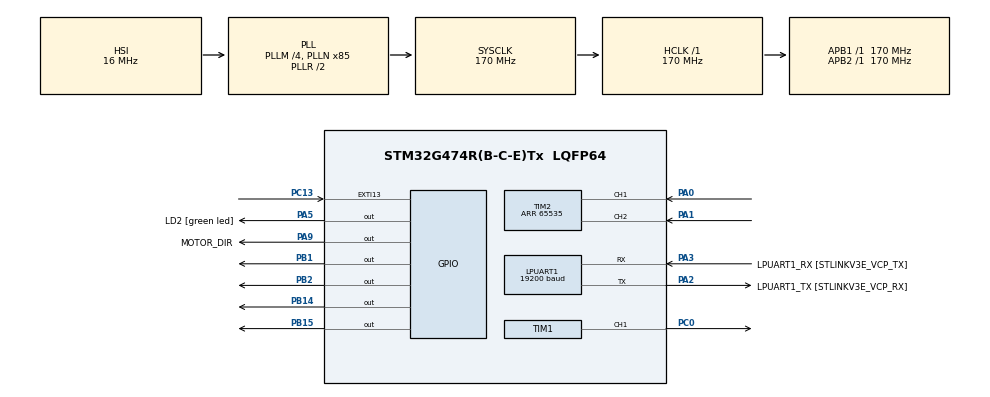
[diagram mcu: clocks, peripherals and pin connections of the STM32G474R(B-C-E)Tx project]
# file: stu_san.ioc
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Dma.LPUART1_RX.0.Direction=DMA_PERIPH_TO_MEMORY
Dma.LPUART1_RX.0.EventEnable=DISABLE
Dma.LPUART1_RX.0.Instance=DMA1_Channel1
Dma.LPUART1_RX.0.MemDataAlignment=DMA_MDATAALIGN_BYTE
Dma.LPUART1_RX.0.MemInc=DMA_MINC_ENABLE
Dma.LPUART1_RX.0.Mode=DMA_NORMAL
Dma.LPUART1_RX.0.PeriphDataAlignment=DMA_PDATAALIGN_BYTE
Dma.LPUART1_RX.0.PeriphInc=DMA_PINC_DISABLE
Dma.LPUART1_RX.0.Polarity=HAL_DMAMUX_REQ_GEN_RISING
Dma.LPUART1_RX.0.Priority=DMA_PRIORITY_LOW
Dma.LPUART1_RX.0.RequestNumber=1
Dma.LPUART1_RX.0.SignalID=NONE
Dma.LPUART1_RX.0.SyncEnable=DISABLE
Dma.LPUART1_RX.0.SyncPolarity=HAL_DMAMUX_SYNC_NO_EVENT
Dma.LPUART1_RX.0.SyncRequestNumber=1
Dma.LPUART1_RX.0.SyncSignalID=NONE
Dma.LPUART1_TX.1.Direction=DMA_MEMORY_TO_PERIPH
Dma.LPUART1_TX.1.EventEnable=DISABLE
Dma.LPUART1_TX.1.Instance=DMA1_Channel2
Dma.LPUART1_TX.1.MemDataAlignment=DMA_MDATAALIGN_BYTE
Dma.LPUART1_TX.1.MemInc=DMA_MINC_ENABLE
Dma.LPUART1_TX.1.Mode=DMA_NORMAL
Dma.LPUART1_TX.1.PeriphDataAlignment=DMA_PDATAALIGN_BYTE
Dma.LPUART1_TX.1.PeriphInc=DMA_PINC_DISABLE
Dma.LPUART1_TX.1.Polarity=HAL_DMAMUX_REQ_GEN_RISING
Dma.LPUART1_TX.1.Priority=DMA_PRIORITY_LOW
Dma.LPUART1_TX.1.RequestNumber=1
Dma.LPUART1_TX.1.SignalID=NONE
Dma.LPUART1_TX.1.SyncEnable=DISABLE
Dma.LPUART1_TX.1.SyncPolarity=HAL_DMAMUX_SYNC_NO_EVENT
Dma.LPUART1_TX.1.SyncRequestNumber=1
Dma.LPUART1_TX.1.SyncSignalID=NONE
Dma.Request0=LPUART1_RX
Dma.Request1=LPUART1_TX
LPUART1.BaudRate=19200
LPUART1.ClockPrescaler=UART_PRESCALER_DIV8
LPUART1.Parity=UART_PARITY_EVEN
LPUART1.WordLength=UART_WORDLENGTH_9B
Mcu.Family=STM32G4
Mcu.Name=STM32G474R(B-C-E)Tx
Mcu.Package=LQFP64
NVIC.DMA1_Channel1_IRQn=true\:0\:0\:false\:false\:true\:false\:true\:true
NVIC.DMA1_Channel2_IRQn=true\:0\:0\:false\:false\:true\:false\:true\:true
NVIC.EXTI15_10_IRQn=true\:0\:0\:false\:false\:true\:true\:true\:true
NVIC.LPUART1_IRQn=true\:0\:0\:false\:false\:true\:true\:true\:true
NVIC.PriorityGroup=NVIC_PRIORITYGROUP_4
NVIC.TIM1_UP_TIM16_IRQn=true\:0\:0\:false\:false\:true\:true\:true\:true
NVIC.TIM6_DAC_IRQn=true\:0\:0\:false\:false\:true\:true\:true\:true
NVIC.TIM7_DAC_IRQn=true\:0\:0\:false\:false\:true\:true\:true\:true
PA0.Signal=S_TIM2_CH1
PA1.Signal=S_TIM2_CH2
PA13.GPIO_Label=T_SWDIO
PA13.Mode=Trace_Asynchronous_SW
PA13.Signal=SYS_JTMS-SWDIO
PA14.GPIO_Label=T_SWCLK
PA14.Mode=Trace_Asynchronous_SW
PA14.Signal=SYS_JTCK-SWCLK
PA2.GPIO_Label=LPUART1_TX [STLINKV3E_VCP_RX]
PA2.Mode=Asynchronous
PA2.Signal=LPUART1_TX
PA3.GPIO_Label=LPUART1_RX [STLINKV3E_VCP_TX]
PA3.Mode=Asynchronous
PA3.Signal=LPUART1_RX
PA5.GPIO_Label=LD2 [green led]
PA5.Signal=GPIO_Output
PA9.GPIO_Label=MOTOR_DIR
PA9.Signal=GPIO_Output
PB1.Signal=GPIO_Output
PB14.Signal=GPIO_Output
PB15.Signal=GPIO_Output
PB2.Signal=GPIO_Output
PB3.GPIO_Label=T_SWO
PB3.Mode=Trace_Asynchronous_SW
PB3.Signal=SYS_JTDO-SWO
PC0.Signal=S_TIM1_CH1
PC13.Signal=GPXTI13
PC14-OSC32_IN.GPIO_Label=RCC_OSC32_IN
PC14-OSC32_IN.Signal=RCC_OSC32_IN
PC15-OSC32_OUT.GPIO_Label=RCC_OSC32_OUT
PC15-OSC32_OUT.Signal=RCC_OSC32_OUT
PF0-OSC_IN.GPIO_Label=RCC_OSC_IN
PF0-OSC_IN.Signal=RCC_OSC_IN
PF1-OSC_OUT.GPIO_Label=RCC_OSC_OUT
PF1-OSC_OUT.Signal=RCC_OSC_OUT
ProjectManager.HeapSize=0x200
ProjectManager.StackSize=0x400
ProjectManager.TargetToolchain=STM32CubeIDE
RCC.ADC12Freq_Value=170000000
RCC.ADC345Freq_Value=170000000
RCC.AHBFreq_Value=170000000
RCC.APB1Freq_Value=170000000
RCC.APB1TimFreq_Value=170000000
RCC.APB2Freq_Value=170000000
RCC.APB2TimFreq_Value=170000000
RCC.CortexFreq_Value=170000000
RCC.EXTERNAL_CLOCK_VALUE=12288000
RCC.HCLKFreq_Value=170000000
RCC.HSE_VALUE=24000000
RCC.HSI48_VALUE=48000000
RCC.HSI_VALUE=16000000
RCC.LSE_VALUE=32768
RCC.PLLM=RCC_PLLM_DIV4
RCC.PLLN=85
RCC.RTCClockSelection=RCC_RTCCLKSOURCE_LSE
RCC.SYSCLKFreq_VALUE=170000000
RCC.SYSCLKSource=RCC_SYSCLKSOURCE_PLLCLK
RCC.USBFreq_Value=170000000
RCC.VCOOutputFreq_Value=340000000
SH.S_TIM1_CH1.0=TIM1_CH1,PWM Generation1 CH1
SH.S_TIM2_CH1.0=TIM2_CH1,Encoder_Interface
SH.S_TIM2_CH2.0=TIM2_CH2,Encoder_Interface
TIM1.Channel-PWM\ Generation1\ CH1=TIM_CHANNEL_1
TIM1.PeriodNoDither=999
TIM1.Prescaler=169
TIM16.PeriodNoDither=1145
TIM16.Prescaler=169
TIM2.EncoderMode=TIM_ENCODERMODE_TI12
TIM2.PeriodNoDither=65535
TIM6.AutoReloadPreload=TIM_AUTORELOAD_PRELOAD_ENABLE
TIM6.PeriodNoDither=999
TIM6.Prescaler=169
TIM7.PeriodNoDither=999
TIM7.Prescaler=169
VP_SYS_VS_DBSignals.Mode=DisableDeadBatterySignals
VP_TIM16_VS_ClockSourceINT.Mode=Enable_Timer
VP_TIM16_VS_OPM.Mode=OPM_bit
VP_TIM6_VS_ClockSourceINT.Mode=Enable_Timer
VP_TIM7_VS_ClockSourceINT.Mode=Enable_Timer
board=NUCLEO-G474RE

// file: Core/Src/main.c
/* USER CODE BEGIN Header */
/**
 ******************************************************************************
 * @file           : main.c
 * @brief          : Main program body
 ******************************************************************************
 * @attention
 *
 * Copyright (c) 2026 STMicroelectronics.
 * All rights reserved.
 *
 * This software is licensed under terms that can be found in the LICENSE file
 * in the root directory of this software component.
 * If no LICENSE file comes with this software, it is provided AS-IS.
 *
 ******************************************************************************
 */
/* USER CODE END Header */
#include "main.h"

/* USER CODE BEGIN Includes */
#include "scurve_trajectory.h"
#include "robot_arm.h"
#include "kalman.h"
#include <string.h>
#include <stdlib.h>
#include <stdio.h>
#include <math.h>
#include <math.h>  // เพิ่มบรรทัดนี้
/* USER CODE END Includes */

UART_HandleTypeDef hlpuart1;
DMA_HandleTypeDef hdma_lpuart1_rx;
DMA_HandleTypeDef hdma_lpuart1_tx;

TIM_HandleTypeDef htim1;
TIM_HandleTypeDef htim2;
TIM_HandleTypeDef htim6;
TIM_HandleTypeDef htim7;
TIM_HandleTypeDef htim16;

/* USER CODE BEGIN PV */
RobotArm_t g_arm;

volatile float COMMAND_target_deg = 0.0f;
volatile float COMMAND_direction = 1.0f;
volatile uint8_t TRIGGER_execute_move = 0;
volatile uint8_t COMMAND_mode = 0; // 0 = Target, 1 = Sine Wave
float sine_time = 0.0f;

// ----- เพิ่มบรรทัดนี้ -----
// 0 = Manual (รับค่าจาก UART / Live Expressions)
// 1 = Auto (ขยับแบบ Sine wave อัตโนมัติ)
volatile uint8_t MODE_auto_sine = 0;
static uint32_t sine_t_ms = 0;
// -----------------------

// UART RX variables for Dashboard communication
uint8_t rx_char;
char rx_buf[64];
uint8_t rx_idx = 0;
/* USER CODE END PV */

void SystemClock_Config(void);
static void MX_GPIO_Init(void);
static void MX_DMA_Init(void);
static void MX_TIM6_Init(void);
static void MX_TIM16_Init(void);
static void MX_LPUART1_UART_Init(void);
static void MX_TIM1_Init(void);
static void MX_TIM2_Init(void);
static void MX_TIM7_Init(void);
/* USER CODE BEGIN PFP */
// สร้างฟังก์ชัน printf ให้ส่งออก UART
#ifdef __GNUC__
#define PUTCHAR_PROTOTYPE int __io_putchar(int ch)
#else
#define PUTCHAR_PROTOTYPE int fputc(int ch, FILE *f)
#endif

PUTCHAR_PROTOTYPE {
	HAL_UART_Transmit(&hlpuart1, (uint8_t*) &ch, 1, HAL_MAX_DELAY);
	return ch;
}
/* USER CODE END PFP */

/* USER CODE BEGIN 0 */
void float_to_str(char *out_str, float val, int precision) {
	if (val < 0) {
		*out_str++ = '-';
		val = -val;
	}
	int int_part = (int) val;
	int len = sprintf(out_str, "%d.", int_part);
	out_str += len;
	float frac_part = val - (float) int_part;
	for (int i = 0; i < precision; i++) {
		frac_part *= 10.0f;
		int digit = (int) frac_part;
		*out_str++ = '0' + digit;
		frac_part -= (float) digit;
	}
	*out_str = '\0';
}
/* USER CODE END 0 */

int main(void) {

	/* MCU Configuration--------------------------------------------------------*/

	/* Reset of all peripherals, Initializes the Flash interface and the Systick. */
	HAL_Init();

	/* Configure the system clock */
	SystemClock_Config();

	/* Initialize all configured peripherals */
	MX_GPIO_Init();
	MX_DMA_Init();
	MX_TIM6_Init();
	MX_TIM16_Init();
	MX_LPUART1_UART_Init();
	MX_TIM1_Init();
	MX_TIM2_Init();
	MX_TIM7_Init();
	/* USER CODE BEGIN 2 */
	RobotArm_Init(&g_arm);
	HAL_TIM_Base_Start_IT(&htim7);
	HAL_TIM_Encoder_Start(&htim2, TIM_CHANNEL_ALL);

	// ----- ขาดบรรทัดนี้ไปหรือเปล่า? -----
	HAL_TIM_PWM_Start(&htim1, TIM_CHANNEL_1);
	// ------------------------------------

	HAL_UART_Receive_IT(&hlpuart1, &rx_char, 1);
	uint32_t last_print_tick = 0;
	/* USER CODE END 2 */

	/* Infinite loop */
	while (1) {

		/* USER CODE BEGIN 3 */
		if (TRIGGER_execute_move == 1) {
			TRIGGER_execute_move = 0;
			if (COMMAND_mode == 0) {
				RobotArm_Move(&g_arm, COMMAND_target_deg, COMMAND_direction);
			}
		}

		// --- ปรับรูปแบบการส่งข้อมูลใหม่ให้เหมาะกับการจูน Kalman ---
		if (HAL_GetTick() - last_print_tick >= 20) {
			last_print_tick = HAL_GetTick();

			// ส่งแค่ 3 ค่าที่จำเป็น: 1.Raw_Pos 2.Kalman_Pos 3.Kalman_Vel
			printf("%.4f,%.4f,%.4f\r\n", g_arm.raw_enc_deg, g_arm.pos_deg,
					g_arm.vel_deg_s);
		}

		HAL_Delay(1);
		/* USER CODE END 3 */
	}
}

void SystemClock_Config(void) {
	RCC_OscInitTypeDef RCC_OscInitStruct = { 0 };
	RCC_ClkInitTypeDef RCC_ClkInitStruct = { 0 };

	/** Configure the main internal regulator output voltage
	 */
	HAL_PWREx_ControlVoltageScaling(PWR_REGULATOR_VOLTAGE_SCALE1_BOOST);

	/** Initializes the RCC Oscillators according to the specified parameters
	 * in the RCC_OscInitTypeDef structure.
	 */
	RCC_OscInitStruct.OscillatorType = RCC_OSCILLATORTYPE_HSI;
	RCC_OscInitStruct.HSIState = RCC_HSI_ON;
	RCC_OscInitStruct.HSICalibrationValue = RCC_HSICALIBRATION_DEFAULT;
	RCC_OscInitStruct.PLL.PLLState = RCC_PLL_ON;
	RCC_OscInitStruct.PLL.PLLSource = RCC_PLLSOURCE_HSI;
	RCC_OscInitStruct.PLL.PLLM = RCC_PLLM_DIV4;
	RCC_OscInitStruct.PLL.PLLN = 85;
	RCC_OscInitStruct.PLL.PLLP = RCC_PLLP_DIV2;
	RCC_OscInitStruct.PLL.PLLQ = RCC_PLLQ_DIV2;
	RCC_OscInitStruct.PLL.PLLR = RCC_PLLR_DIV2;
	if (HAL_RCC_OscConfig(&RCC_OscInitStruct) != HAL_OK) {
		Error_Handler();
	}

	/** Initializes the CPU, AHB and APB buses clocks
	 */
	RCC_ClkInitStruct.ClockType = RCC_CLOCKTYPE_HCLK | RCC_CLOCKTYPE_SYSCLK
			| RCC_CLOCKTYPE_PCLK1 | RCC_CLOCKTYPE_PCLK2;
	RCC_ClkInitStruct.SYSCLKSource = RCC_SYSCLKSOURCE_PLLCLK;
	RCC_ClkInitStruct.AHBCLKDivider = RCC_SYSCLK_DIV1;
	RCC_ClkInitStruct.APB1CLKDivider = RCC_HCLK_DIV1;
	RCC_ClkInitStruct.APB2CLKDivider = RCC_HCLK_DIV1;

	if (HAL_RCC_ClockConfig(&RCC_ClkInitStruct, FLASH_LATENCY_4) != HAL_OK) {
		Error_Handler();
	}
}

static void MX_LPUART1_UART_Init(void) {

	hlpuart1.Instance = LPUART1;
	hlpuart1.Init.BaudRate = 115200;
	hlpuart1.Init.WordLength = UART_WORDLENGTH_9B;
	hlpuart1.Init.StopBits = UART_STOPBITS_1;
	hlpuart1.Init.Parity = UART_PARITY_EVEN;
	hlpuart1.Init.Mode = UART_MODE_TX_RX;
	hlpuart1.Init.HwFlowCtl = UART_HWCONTROL_NONE;
	hlpuart1.Init.OneBitSampling = UART_ONE_BIT_SAMPLE_DISABLE;
	hlpuart1.Init.ClockPrescaler = UART_PRESCALER_DIV8;
	hlpuart1.AdvancedInit.AdvFeatureInit = UART_ADVFEATURE_NO_INIT;
	if (HAL_UART_Init(&hlpuart1) != HAL_OK) {
		Error_Handler();
	}
	if (HAL_UARTEx_SetTxFifoThreshold(&hlpuart1,
	UART_TXFIFO_THRESHOLD_1_8) != HAL_OK) {
		Error_Handler();
	}
	if (HAL_UARTEx_SetRxFifoThreshold(&hlpuart1,
	UART_RXFIFO_THRESHOLD_1_8) != HAL_OK) {
		Error_Handler();
	}
	if (HAL_UARTEx_DisableFifoMode(&hlpuart1) != HAL_OK) {
		Error_Handler();
	}

}

static void MX_TIM1_Init(void) {

	TIM_MasterConfigTypeDef sMasterConfig = { 0 };
	TIM_OC_InitTypeDef sConfigOC = { 0 };
	TIM_BreakDeadTimeConfigTypeDef sBreakDeadTimeConfig = { 0 };

	htim1.Instance = TIM1;
	htim1.Init.Prescaler = 0;
	htim1.Init.CounterMode = TIM_COUNTERMODE_UP;
	htim1.Init.Period = 8499;
	htim1.Init.ClockDivision = TIM_CLOCKDIVISION_DIV1;
	htim1.Init.RepetitionCounter = 0;
	htim1.Init.AutoReloadPreload = TIM_AUTORELOAD_PRELOAD_DISABLE;
	if (HAL_TIM_PWM_Init(&htim1) != HAL_OK) {
		Error_Handler();
	}
	sMasterConfig.MasterOutputTrigger = TIM_TRGO_RESET;
	sMasterConfig.MasterOutputTrigger2 = TIM_TRGO2_RESET;
	sMasterConfig.MasterSlaveMode = TIM_MASTERSLAVEMODE_DISABLE;
	if (HAL_TIMEx_MasterConfigSynchronization(&htim1, &sMasterConfig)
			!= HAL_OK) {
		Error_Handler();
	}
	sConfigOC.OCMode = TIM_OCMODE_PWM1;
	sConfigOC.Pulse = 0;
	sConfigOC.OCPolarity = TIM_OCPOLARITY_HIGH;
	sConfigOC.OCNPolarity = TIM_OCNPOLARITY_HIGH;
	sConfigOC.OCFastMode = TIM_OCFAST_DISABLE;
	sConfigOC.OCIdleState = TIM_OCIDLESTATE_RESET;
	sConfigOC.OCNIdleState = TIM_OCNIDLESTATE_RESET;
	if (HAL_TIM_PWM_ConfigChannel(&htim1, &sConfigOC, TIM_CHANNEL_1)
			!= HAL_OK) {
		Error_Handler();
	}
	sBreakDeadTimeConfig.OffStateRunMode = TIM_OSSR_DISABLE;
	sBreakDeadTimeConfig.OffStateIDLEMode = TIM_OSSI_DISABLE;
	sBreakDeadTimeConfig.LockLevel = TIM_LOCKLEVEL_OFF;
	sBreakDeadTimeConfig.DeadTime = 0;
	sBreakDeadTimeConfig.BreakState = TIM_BREAK_DISABLE;
	sBreakDeadTimeConfig.BreakPolarity = TIM_BREAKPOLARITY_HIGH;
	sBreakDeadTimeConfig.BreakFilter = 0;
	sBreakDeadTimeConfig.BreakAFMode = TIM_BREAK_AFMODE_INPUT;
	sBreakDeadTimeConfig.Break2State = TIM_BREAK2_DISABLE;
	sBreakDeadTimeConfig.Break2Polarity = TIM_BREAK2POLARITY_HIGH;
	sBreakDeadTimeConfig.Break2Filter = 0;
	sBreakDeadTimeConfig.Break2AFMode = TIM_BREAK_AFMODE_INPUT;
	sBreakDeadTimeConfig.AutomaticOutput = TIM_AUTOMATICOUTPUT_DISABLE;
	if (HAL_TIMEx_ConfigBreakDeadTime(&htim1, &sBreakDeadTimeConfig)
			!= HAL_OK) {
		Error_Handler();
	}
	HAL_TIM_MspPostInit(&htim1);

}

static void MX_TIM2_Init(void) {

	TIM_Encoder_InitTypeDef sConfig = { 0 };
	TIM_MasterConfigTypeDef sMasterConfig = { 0 };

	htim2.Instance = TIM2;
	htim2.Init.Prescaler = 0;
	htim2.Init.CounterMode = TIM_COUNTERMODE_UP;
	htim2.Init.Period = 65535;
	htim2.Init.ClockDivision = TIM_CLOCKDIVISION_DIV1;
	htim2.Init.AutoReloadPreload = TIM_AUTORELOAD_PRELOAD_DISABLE;
	sConfig.EncoderMode = TIM_ENCODERMODE_TI12;
	sConfig.IC1Polarity = TIM_ICPOLARITY_RISING;
	sConfig.IC1Selection = TIM_ICSELECTION_DIRECTTI;
	sConfig.IC1Prescaler = TIM_ICPSC_DIV1;
	sConfig.IC1Filter = 0;
	sConfig.IC2Polarity = TIM_ICPOLARITY_RISING;
	sConfig.IC2Selection = TIM_ICSELECTION_DIRECTTI;
	sConfig.IC2Prescaler = TIM_ICPSC_DIV1;
	sConfig.IC2Filter = 0;
	if (HAL_TIM_Encoder_Init(&htim2, &sConfig) != HAL_OK) {
		Error_Handler();
	}
	sMasterConfig.MasterOutputTrigger = TIM_TRGO_RESET;
	sMasterConfig.MasterSlaveMode = TIM_MASTERSLAVEMODE_DISABLE;
	if (HAL_TIMEx_MasterConfigSynchronization(&htim2, &sMasterConfig)
			!= HAL_OK) {
		Error_Handler();
	}

}

static void MX_TIM6_Init(void) {

	TIM_MasterConfigTypeDef sMasterConfig = { 0 };

	htim6.Instance = TIM6;
	htim6.Init.Prescaler = 169;
	htim6.Init.CounterMode = TIM_COUNTERMODE_UP;
	htim6.Init.Period = 999;
	htim6.Init.AutoReloadPreload = TIM_AUTORELOAD_PRELOAD_ENABLE;
	if (HAL_TIM_Base_Init(&htim6) != HAL_OK) {
		Error_Handler();
	}
	sMasterConfig.MasterOutputTrigger = TIM_TRGO_RESET;
	sMasterConfig.MasterSlaveMode = TIM_MASTERSLAVEMODE_DISABLE;
	if (HAL_TIMEx_MasterConfigSynchronization(&htim6, &sMasterConfig)
			!= HAL_OK) {
		Error_Handler();
	}

}

static void MX_TIM7_Init(void) {

	TIM_MasterConfigTypeDef sMasterConfig = { 0 };

	htim7.Instance = TIM7;
	htim7.Init.Prescaler = 169;
	htim7.Init.CounterMode = TIM_COUNTERMODE_UP;
	htim7.Init.Period = 999;
	htim7.Init.AutoReloadPreload = TIM_AUTORELOAD_PRELOAD_DISABLE;
	if (HAL_TIM_Base_Init(&htim7) != HAL_OK) {
		Error_Handler();
	}
	sMasterConfig.MasterOutputTrigger = TIM_TRGO_RESET;
	sMasterConfig.MasterSlaveMode = TIM_MASTERSLAVEMODE_DISABLE;
	if (HAL_TIMEx_MasterConfigSynchronization(&htim7, &sMasterConfig)
			!= HAL_OK) {
		Error_Handler();
	}

}

static void MX_TIM16_Init(void) {

	htim16.Instance = TIM16;
	htim16.Init.Prescaler = 169;
	htim16.Init.CounterMode = TIM_COUNTERMODE_UP;
	htim16.Init.Period = 1145;
	htim16.Init.ClockDivision = TIM_CLOCKDIVISION_DIV1;
	htim16.Init.RepetitionCounter = 0;
	htim16.Init.AutoReloadPreload = TIM_AUTORELOAD_PRELOAD_DISABLE;
	if (HAL_TIM_Base_Init(&htim16) != HAL_OK) {
		Error_Handler();
	}
	if (HAL_TIM_OnePulse_Init(&htim16, TIM_OPMODE_SINGLE) != HAL_OK) {
		Error_Handler();
	}

}

static void MX_DMA_Init(void) {

	/* DMA controller clock enable */
	__HAL_RCC_DMAMUX1_CLK_ENABLE();
	__HAL_RCC_DMA1_CLK_ENABLE();

	/* DMA interrupt init */
	/* DMA1_Channel1_IRQn interrupt configuration */
	HAL_NVIC_SetPriority(DMA1_Channel1_IRQn, 0, 0);
	HAL_NVIC_EnableIRQ(DMA1_Channel1_IRQn);
	/* DMA1_Channel2_IRQn interrupt configuration */
	HAL_NVIC_SetPriority(DMA1_Channel2_IRQn, 0, 0);
	HAL_NVIC_EnableIRQ(DMA1_Channel2_IRQn);

}

static void MX_GPIO_Init(void) {
	GPIO_InitTypeDef GPIO_InitStruct = { 0 };

	/* GPIO Ports Clock Enable */
	__HAL_RCC_GPIOC_CLK_ENABLE();
	__HAL_RCC_GPIOF_CLK_ENABLE();
	__HAL_RCC_GPIOA_CLK_ENABLE();
	__HAL_RCC_GPIOB_CLK_ENABLE();

	/*Configure GPIO pin Output Level */
	HAL_GPIO_WritePin(GPIOA, LD2_Pin | MOTOR_DIR_Pin, GPIO_PIN_RESET);

	/*Configure GPIO pin Output Level */
	HAL_GPIO_WritePin(GPIOB,
	GPIO_PIN_1 | GPIO_PIN_2 | GPIO_PIN_14 | GPIO_PIN_15, GPIO_PIN_RESET);

	/*Configure GPIO pin : PC13 */
	GPIO_InitStruct.Pin = GPIO_PIN_13;
	GPIO_InitStruct.Mode = GPIO_MODE_IT_RISING;
	GPIO_InitStruct.Pull = GPIO_NOPULL;
	HAL_GPIO_Init(GPIOC, &GPIO_InitStruct);

	/*Configure GPIO pins : LD2_Pin MOTOR_DIR_Pin */
	GPIO_InitStruct.Pin = LD2_Pin | MOTOR_DIR_Pin;
	GPIO_InitStruct.Mode = GPIO_MODE_OUTPUT_PP;
	GPIO_InitStruct.Pull = GPIO_NOPULL;
	GPIO_InitStruct.Speed = GPIO_SPEED_FREQ_LOW;
	HAL_GPIO_Init(GPIOA, &GPIO_InitStruct);

	/*Configure GPIO pins : PB1 PB2 PB14 PB15 */
	GPIO_InitStruct.Pin = GPIO_PIN_1 | GPIO_PIN_2 | GPIO_PIN_14 | GPIO_PIN_15;
	GPIO_InitStruct.Mode = GPIO_MODE_OUTPUT_PP;
	GPIO_InitStruct.Pull = GPIO_NOPULL;
	GPIO_InitStruct.Speed = GPIO_SPEED_FREQ_LOW;
	HAL_GPIO_Init(GPIOB, &GPIO_InitStruct);

	/* EXTI interrupt init*/
	HAL_NVIC_SetPriority(EXTI15_10_IRQn, 0, 0);
	HAL_NVIC_EnableIRQ(EXTI15_10_IRQn);

}

/* USER CODE BEGIN 4 */

// ประกาศตัวแปรเก็บจุดศูนย์กลาง และตัวเช็คสถานะโหมดก่อนหน้า
volatile float sine_center_pos = 0.0f;
static uint8_t prev_mode = 0;

void HAL_TIM_PeriodElapsedCallback(TIM_HandleTypeDef *htim) {
	if (htim->Instance == TIM7) {

		// 1. ตรวจจับจังหวะแรกที่เพิ่งสลับโหมดจาก 0 มา 1
		if (COMMAND_mode == 1 && prev_mode == 0) {
			sine_center_pos = g_arm.pos_deg; // จำตำแหน่งปัจจุบันไว้เป็นจุดกึ่งกลาง
			sine_time = 0.0f;       // รีเซ็ตเวลาคลื่นให้เริ่มจาก 0 อย่างนุ่มนวล
		}

		if (COMMAND_mode == 1) {
			float freq = 0.5f;        // ความถี่ 0.5 Hz
			float period = 1.0f / freq;

			sine_time += 0.001f;
			if (sine_time >= period) {
				sine_time -= period;
			}

			float omega = 2.0f * 3.14159265f * freq;

			// 2. เอา sine_center_pos มาบวกเป็นฐาน เพื่อไม่ให้กระชากกลับไปที่ 0
			g_arm.ref_pos_deg = sine_center_pos
					+ (COMMAND_target_deg * sinf(omega * sine_time));
			g_arm.ref_vel_deg_s = COMMAND_target_deg * omega
					* cosf(omega * sine_time);

			g_arm.running = false;
			g_arm.done = false;
		}

		// 3. อัปเดตสถานะโหมดปัจจุบันเก็บไว้
		prev_mode = COMMAND_mode;

		// ประมวลผล PID และ Kalman Filter ควบคุมมอเตอร์
		RobotArm_ControlTick(&g_arm);
	}
}

void HAL_UART_RxCpltCallback(UART_HandleTypeDef *huart) {
	if (huart->Instance == LPUART1) {
		if (rx_char == '\n' || rx_char == '\r') {
			if (rx_idx > 0) {
				rx_buf[rx_idx] = '\0';

				// Parse commands
				if (rx_buf[0] == 't' && rx_buf[1] == ':') {
					COMMAND_target_deg = (float) atof(&rx_buf[2]);
				} else if (rx_buf[0] == 'd' && rx_buf[1] == ':') {
					COMMAND_direction = (float) atof(&rx_buf[2]);
				} else if (rx_buf[0] == 'g') {
					TRIGGER_execute_move = 1;
				} else if (rx_buf[0] == 'm' && rx_buf[1] == ':') {
					uint8_t new_mode = (uint8_t) atoi(&rx_buf[2]);
					if (new_mode == 0 || new_mode == 1) {
						COMMAND_mode = new_mode;

						if (COMMAND_mode == 1) {
							// เมื่อเข้าสู่โหมด Sine ให้เคลียร์เวลาเริ่มต้นใหม่เพื่อให้คลื่นเริ่มจาก 0 องศาอย่างนุ่มนวล
							sine_time = 0.0f;
						} else {
							// เมื่อกลับมาโหมด 0 ให้สั่งหยุดแขนกล ณ ตำแหน่งปัจจุบันก่อน เพื่อความปลอดภัย
							RobotArm_Stop(&g_arm);
						}
					}
				}
				rx_idx = 0;
			}
		} else {
			if (rx_idx < sizeof(rx_buf) - 1) {
				rx_buf[rx_idx++] = rx_char;
			} else {
				rx_idx = 0; // Prevent overflow
			}
		}
		// Restart UART RX interrupt
		HAL_UART_Receive_IT(&hlpuart1, &rx_char, 1);
	}
}

/* USER CODE END 4 */

void Error_Handler(void) {
	__disable_irq();
	while (1) {
	}
}
#ifdef USE_FULL_ASSERT
	/**
	  * @brief  Reports the name of the source file and the source line number
	  *         where the assert_param error has occurred.
	  * @param  file: pointer to the source file name
	  * @param  line: assert_param error line source number
	  * @retval None
	  */
	void assert_failed(uint8_t *file, uint32_t line)
	{
	}
	#endif /* USE_FULL_ASSERT */
